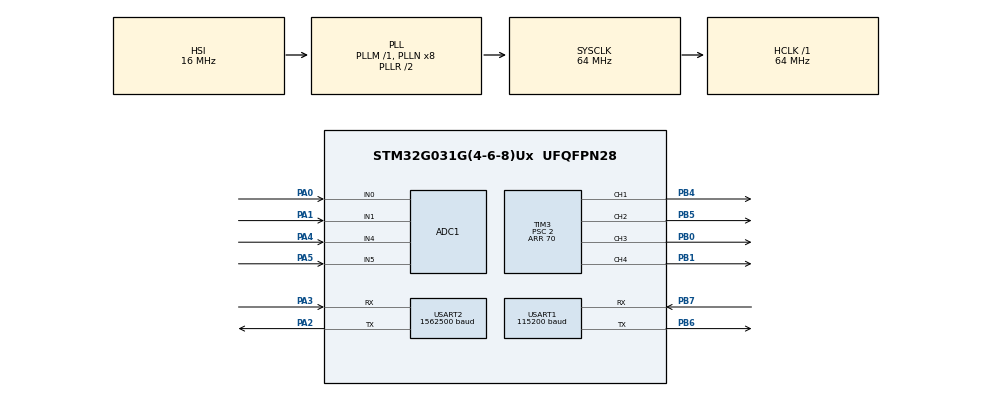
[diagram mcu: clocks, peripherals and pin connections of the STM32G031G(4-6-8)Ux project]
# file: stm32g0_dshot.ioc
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ADC1.Channel-1\#ChannelRegularConversion=ADC_CHANNEL_0
ADC1.Channel-2\#ChannelRegularConversion=ADC_CHANNEL_1
ADC1.Channel-3\#ChannelRegularConversion=ADC_CHANNEL_4
ADC1.Channel-4\#ChannelRegularConversion=ADC_CHANNEL_5
ADC1.ClockPrescaler=ADC_CLOCK_SYNC_PCLK_DIV4
ADC1.DiscontinuousConvMode=ENABLE
ADC1.NbrOfConversion=4
ADC1.NbrOfConversionFlag=1
ADC1.Rank-1\#ChannelRegularConversion=1
ADC1.Rank-2\#ChannelRegularConversion=2
ADC1.Rank-3\#ChannelRegularConversion=3
ADC1.Rank-4\#ChannelRegularConversion=4
ADC1.SamplingTime-1\#ChannelRegularConversion=ADC_SAMPLINGTIME_COMMON_1
ADC1.SamplingTime-2\#ChannelRegularConversion=ADC_SAMPLINGTIME_COMMON_1
ADC1.SamplingTime-3\#ChannelRegularConversion=ADC_SAMPLINGTIME_COMMON_1
ADC1.SamplingTime-4\#ChannelRegularConversion=ADC_SAMPLINGTIME_COMMON_1
ADC1.SamplingTimeCommon1=ADC_SAMPLETIME_160CYCLES_5
ADC1.SamplingTimeCommon2=ADC_SAMPLETIME_160CYCLES_5
ADC1.SelectedChannel=ADC_CHANNEL_0|ADC_CHANNEL_1|ADC_CHANNEL_4|ADC_CHANNEL_5
ADC1.master=1
Dma.Request0=TIM3_CH1
Dma.Request1=TIM3_CH2
Dma.Request2=TIM3_CH3
Dma.Request3=TIM3_CH4
Dma.Request4=USART2_RX
Dma.TIM3_CH1.0.Direction=DMA_MEMORY_TO_PERIPH
Dma.TIM3_CH1.0.EventEnable=DISABLE
Dma.TIM3_CH1.0.Instance=DMA1_Channel2
Dma.TIM3_CH1.0.MemDataAlignment=DMA_MDATAALIGN_WORD
Dma.TIM3_CH1.0.MemInc=DMA_MINC_ENABLE
Dma.TIM3_CH1.0.Mode=DMA_NORMAL
Dma.TIM3_CH1.0.PeriphDataAlignment=DMA_PDATAALIGN_WORD
Dma.TIM3_CH1.0.PeriphInc=DMA_PINC_DISABLE
Dma.TIM3_CH1.0.Polarity=HAL_DMAMUX_REQ_GEN_RISING
Dma.TIM3_CH1.0.Priority=DMA_PRIORITY_HIGH
Dma.TIM3_CH1.0.RequestNumber=1
Dma.TIM3_CH1.0.SignalID=NONE
Dma.TIM3_CH1.0.SyncEnable=DISABLE
Dma.TIM3_CH1.0.SyncPolarity=HAL_DMAMUX_SYNC_NO_EVENT
Dma.TIM3_CH1.0.SyncRequestNumber=1
Dma.TIM3_CH1.0.SyncSignalID=NONE
Dma.TIM3_CH2.1.Direction=DMA_MEMORY_TO_PERIPH
Dma.TIM3_CH2.1.EventEnable=DISABLE
Dma.TIM3_CH2.1.Instance=DMA1_Channel3
Dma.TIM3_CH2.1.MemDataAlignment=DMA_MDATAALIGN_WORD
Dma.TIM3_CH2.1.MemInc=DMA_MINC_ENABLE
Dma.TIM3_CH2.1.Mode=DMA_NORMAL
Dma.TIM3_CH2.1.PeriphDataAlignment=DMA_PDATAALIGN_WORD
Dma.TIM3_CH2.1.PeriphInc=DMA_PINC_DISABLE
Dma.TIM3_CH2.1.Polarity=HAL_DMAMUX_REQ_GEN_RISING
Dma.TIM3_CH2.1.Priority=DMA_PRIORITY_HIGH
Dma.TIM3_CH2.1.RequestNumber=1
Dma.TIM3_CH2.1.SignalID=NONE
Dma.TIM3_CH2.1.SyncEnable=DISABLE
Dma.TIM3_CH2.1.SyncPolarity=HAL_DMAMUX_SYNC_NO_EVENT
Dma.TIM3_CH2.1.SyncRequestNumber=1
Dma.TIM3_CH2.1.SyncSignalID=NONE
Dma.TIM3_CH3.2.Direction=DMA_MEMORY_TO_PERIPH
Dma.TIM3_CH3.2.EventEnable=DISABLE
Dma.TIM3_CH3.2.Instance=DMA1_Channel4
Dma.TIM3_CH3.2.MemDataAlignment=DMA_MDATAALIGN_WORD
Dma.TIM3_CH3.2.MemInc=DMA_MINC_ENABLE
Dma.TIM3_CH3.2.Mode=DMA_NORMAL
Dma.TIM3_CH3.2.PeriphDataAlignment=DMA_PDATAALIGN_WORD
Dma.TIM3_CH3.2.PeriphInc=DMA_PINC_DISABLE
Dma.TIM3_CH3.2.Polarity=HAL_DMAMUX_REQ_GEN_RISING
Dma.TIM3_CH3.2.Priority=DMA_PRIORITY_HIGH
Dma.TIM3_CH3.2.RequestNumber=1
Dma.TIM3_CH3.2.SignalID=NONE
Dma.TIM3_CH3.2.SyncEnable=DISABLE
Dma.TIM3_CH3.2.SyncPolarity=HAL_DMAMUX_SYNC_NO_EVENT
Dma.TIM3_CH3.2.SyncRequestNumber=1
Dma.TIM3_CH3.2.SyncSignalID=NONE
Dma.TIM3_CH4.3.Direction=DMA_MEMORY_TO_PERIPH
Dma.TIM3_CH4.3.EventEnable=DISABLE
Dma.TIM3_CH4.3.Instance=DMA1_Channel5
Dma.TIM3_CH4.3.MemDataAlignment=DMA_MDATAALIGN_WORD
Dma.TIM3_CH4.3.MemInc=DMA_MINC_ENABLE
Dma.TIM3_CH4.3.Mode=DMA_NORMAL
Dma.TIM3_CH4.3.PeriphDataAlignment=DMA_PDATAALIGN_WORD
Dma.TIM3_CH4.3.PeriphInc=DMA_PINC_DISABLE
Dma.TIM3_CH4.3.Polarity=HAL_DMAMUX_REQ_GEN_RISING
Dma.TIM3_CH4.3.Priority=DMA_PRIORITY_HIGH
Dma.TIM3_CH4.3.RequestNumber=1
Dma.TIM3_CH4.3.SignalID=NONE
Dma.TIM3_CH4.3.SyncEnable=DISABLE
Dma.TIM3_CH4.3.SyncPolarity=HAL_DMAMUX_SYNC_NO_EVENT
Dma.TIM3_CH4.3.SyncRequestNumber=1
Dma.TIM3_CH4.3.SyncSignalID=NONE
Dma.USART2_RX.4.Direction=DMA_PERIPH_TO_MEMORY
Dma.USART2_RX.4.EventEnable=DISABLE
Dma.USART2_RX.4.Instance=DMA1_Channel1
Dma.USART2_RX.4.MemDataAlignment=DMA_MDATAALIGN_BYTE
Dma.USART2_RX.4.MemInc=DMA_MINC_ENABLE
Dma.USART2_RX.4.Mode=DMA_CIRCULAR
Dma.USART2_RX.4.PeriphDataAlignment=DMA_PDATAALIGN_BYTE
Dma.USART2_RX.4.PeriphInc=DMA_PINC_DISABLE
Dma.USART2_RX.4.Polarity=HAL_DMAMUX_REQ_GEN_RISING
Dma.USART2_RX.4.Priority=DMA_PRIORITY_HIGH
Dma.USART2_RX.4.RequestNumber=1
Dma.USART2_RX.4.SignalID=NONE
Dma.USART2_RX.4.SyncEnable=DISABLE
Dma.USART2_RX.4.SyncPolarity=HAL_DMAMUX_SYNC_NO_EVENT
Dma.USART2_RX.4.SyncRequestNumber=1
Dma.USART2_RX.4.SyncSignalID=NONE
Mcu.Family=STM32G0
Mcu.Name=STM32G031G(4-6-8)Ux
Mcu.Package=UFQFPN28
NVIC.DMA1_Ch4_5_DMAMUX1_OVR_IRQn=true\:0\:0\:false\:false\:true\:false\:true\:true
NVIC.DMA1_Channel1_IRQn=true\:0\:0\:false\:false\:true\:false\:true\:true
NVIC.DMA1_Channel2_3_IRQn=true\:0\:0\:false\:false\:true\:false\:true\:true
NVIC.TIM1_BRK_UP_TRG_COM_IRQn=true\:0\:0\:false\:false\:true\:true\:true\:true
PA0.Mode=IN0
PA0.Signal=ADC1_IN0
PA1.Mode=IN1
PA1.Signal=ADC1_IN1
PA2.Mode=Asynchronous
PA2.Signal=USART2_TX
PA3.Mode=Asynchronous
PA3.Signal=USART2_RX
PA4.Mode=IN4
PA4.Signal=ADC1_IN4
PA5.Mode=IN5
PA5.Signal=ADC1_IN5
PB0.Signal=S_TIM3_CH3
PB1.Signal=S_TIM3_CH4
PB4.Signal=S_TIM3_CH1
PB5.Signal=S_TIM3_CH2
PB6.Mode=Asynchronous
PB6.Signal=USART1_TX
PB7.Mode=Asynchronous
PB7.Signal=USART1_RX
ProjectManager.HeapSize=0x200
ProjectManager.StackSize=0x400
ProjectManager.TargetToolchain=MDK-ARM V5.27
RCC.ADCFreq_Value=64000000
RCC.AHBFreq_Value=64000000
RCC.CortexFreq_Value=64000000
RCC.EXTERNAL_CLOCK_VALUE=12288000
RCC.HCLKFreq_Value=64000000
RCC.HSE_VALUE=8000000
RCC.HSI_VALUE=16000000
RCC.LSE_VALUE=32768
RCC.PLLQ=RCC_PLLQ_DIV4
RCC.SYSCLKFreq_VALUE=64000000
RCC.SYSCLKSource=RCC_SYSCLKSOURCE_PLLCLK
RCC.VCOOutputFreq_Value=128000000
SH.S_TIM3_CH1.0=TIM3_CH1,PWM Generation1 CH1
SH.S_TIM3_CH2.0=TIM3_CH2,PWM Generation2 CH2
SH.S_TIM3_CH3.0=TIM3_CH3,PWM Generation3 CH3
SH.S_TIM3_CH4.0=TIM3_CH4,PWM Generation4 CH4
TIM1.Period=49
TIM1.Prescaler=639
TIM2.AutoReloadPreload=TIM_AUTORELOAD_PRELOAD_ENABLE
TIM2.Period=0xFFFFFFFF
TIM2.Prescaler=64000-1
TIM3.Channel-PWM\ Generation1\ CH1=TIM_CHANNEL_1
TIM3.Channel-PWM\ Generation2\ CH2=TIM_CHANNEL_2
TIM3.Channel-PWM\ Generation3\ CH3=TIM_CHANNEL_3
TIM3.Channel-PWM\ Generation4\ CH4=TIM_CHANNEL_4
TIM3.Period=70
TIM3.Prescaler=2
USART1.BaudRate=115200
USART1.VirtualMode-Asynchronous=VM_ASYNC
USART2.BaudRate=1562500
USART2.DMADisableonRxErrorParam=ADVFEATURE_DMA_ENABLEONRXERROR
USART2.OverrunDisableParam=ADVFEATURE_OVERRUN_DISABLE
USART2.VirtualMode-Asynchronous=VM_ASYNC
VP_SYS_VS_PINREMAP.Mode=PINREMAP
VP_SYS_VS_PINREMAP_10_12.Mode=PINREMAP_10_12
VP_TIM1_VS_ClockSourceINT.Mode=Internal
VP_TIM2_VS_ClockSourceINT.Mode=Internal
VP_TIM3_VS_ClockSourceINT.Mode=Internal
board=custom

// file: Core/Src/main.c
/* USER CODE BEGIN Header */
/**
 ******************************************************************************
 * @file           : main.c
 * @brief          : Main program body
 ******************************************************************************
 * @attention
 *
 * Copyright (c) 2025 STMicroelectronics.
 * All rights reserved.
 *
 * This software is licensed under terms that can be found in the LICENSE file
 * in the root directory of this software component.
 * If no LICENSE file comes with this software, it is provided AS-IS.
 *
 ******************************************************************************
 */
/* USER CODE END Header */
#include "main.h"
#include "adc.h"
#include "dma.h"
#include "tim.h"
#include "usart.h"
#include "gpio.h"

/* USER CODE BEGIN Includes */
#include "stdint.h"
#include "dshot.h"
#include "user.h"
/* USER CODE END Includes */

void SystemClock_Config(void);
/* USER CODE BEGIN PFP */
extern bool is_startup;
extern bool last_state;
extern bool is_connect;
extern uint16_t loop_count;
extern uint16_t loop_count_last;
extern uint8_t rx[];
extern uint8_t tx[];
extern uint16_t pwm[];
/* USER CODE END PFP */

/* USER CODE BEGIN 0 */
#include <stdio.h>
#include <string.h>

int fputc(int ch, FILE *f)
{
  while ((USART1->ISR & 0X40) == 0);
  USART1->TDR = (uint8_t)ch;
  return ch;
}

void nop_delay(uint32_t cnt)
{
  while (cnt--)
  {
    __NOP();
  }
}

void idle_irq(void)
{
  if (is_connect == false)
  {
    HAL_UART_DMAStop(&huart2);
    MX_USART2_UART_Init();
    HAL_UART_Receive_DMA(&huart2, rx, RDATA_SIZE);
  }
}

/* USER CODE END 0 */

int main(void)
{

  /* USER CODE BEGIN 1 */
  SCB->VTOR = 0x08003000;
  __enable_irq();
  HAL_DeInit();
  HAL_RCC_DeInit();

  /* USER CODE END 1 */

  /* MCU Configuration--------------------------------------------------------*/

  /* Reset of all peripherals, Initializes the Flash interface and the Systick. */
  HAL_Init();

  /* Configure the system clock */
  SystemClock_Config();

  /* Initialize all configured peripherals */
  MX_GPIO_Init();
  MX_DMA_Init();
  MX_ADC1_Init();
  MX_TIM1_Init();
  MX_TIM3_Init();
  MX_USART2_UART_Init();
  MX_USART1_UART_Init();
  MX_TIM2_Init();
  /* USER CODE BEGIN 2 */

  printf("aux app startup v%d.%d\r\n",VERSION_MAJOR,VERSION_MINOR);

  tx[TDATA_SIZE-3] = VERSION_MAJOR;
  tx[TDATA_SIZE-2] = VERSION_MINOR;

  HAL_ADCEx_Calibration_Start(&hadc1);
  HAL_TIM_Base_Start_IT(&htim2);

  dshot_init(DSHOT300);
  while(TIM2->CNT < 100);
  HAL_TIM_Base_Start_IT(&htim1);

  printf("connecting...\r\n");

  HAL_UART_Receive_DMA(&huart2, rx, RDATA_SIZE);
	// __HAL_UART_ENABLE_IT(&huart2, UART_IT_IDLE);

  /* USER CODE END 2 */

  /* Infinite loop */
  while (1)
  {

    /* USER CODE BEGIN 3 */

    loop_100ms();
    loop_1s();

    if (last_state == false && is_connect == true)
    {
      last_state = true;
      printf("connected\r\n");
    }
    else if (last_state == true && is_connect == false)
    {
      last_state = false;
      printf("disconnect\r\n");
    }

    if (is_startup == false)
    {
      if (TIM2->CNT > 1000)
      {
        is_startup = true;
      }
    }

    for (int i = 0; i < 4; i++)
    {
      HAL_ADC_Start(&hadc1);
      HAL_ADC_PollForConversion(&hadc1, 100);
      if (HAL_IS_BIT_SET(HAL_ADC_GetState(&hadc1), HAL_ADC_STATE_REG_EOC))
      {
        ((uint16_t *)tx)[i + 1] = HAL_ADC_GetValue(&hadc1);
      }
    }
    HAL_ADC_Stop(&hadc1);

    loop_count++;
  }
  /* USER CODE END 3 */
}

void SystemClock_Config(void)
{
  RCC_OscInitTypeDef RCC_OscInitStruct = {0};
  RCC_ClkInitTypeDef RCC_ClkInitStruct = {0};

  /** Configure the main internal regulator output voltage
  */
  HAL_PWREx_ControlVoltageScaling(PWR_REGULATOR_VOLTAGE_SCALE1);

  /** Initializes the RCC Oscillators according to the specified parameters
  * in the RCC_OscInitTypeDef structure.
  */
  RCC_OscInitStruct.OscillatorType = RCC_OSCILLATORTYPE_HSI;
  RCC_OscInitStruct.HSIState = RCC_HSI_ON;
  RCC_OscInitStruct.HSIDiv = RCC_HSI_DIV1;
  RCC_OscInitStruct.HSICalibrationValue = RCC_HSICALIBRATION_DEFAULT;
  RCC_OscInitStruct.PLL.PLLState = RCC_PLL_ON;
  RCC_OscInitStruct.PLL.PLLSource = RCC_PLLSOURCE_HSI;
  RCC_OscInitStruct.PLL.PLLM = RCC_PLLM_DIV1;
  RCC_OscInitStruct.PLL.PLLN = 8;
  RCC_OscInitStruct.PLL.PLLP = RCC_PLLP_DIV2;
  RCC_OscInitStruct.PLL.PLLQ = RCC_PLLQ_DIV4;
  RCC_OscInitStruct.PLL.PLLR = RCC_PLLR_DIV2;
  if (HAL_RCC_OscConfig(&RCC_OscInitStruct) != HAL_OK)
  {
    Error_Handler();
  }

  /** Initializes the CPU, AHB and APB buses clocks
  */
  RCC_ClkInitStruct.ClockType = RCC_CLOCKTYPE_HCLK|RCC_CLOCKTYPE_SYSCLK
                              |RCC_CLOCKTYPE_PCLK1;
  RCC_ClkInitStruct.SYSCLKSource = RCC_SYSCLKSOURCE_PLLCLK;
  RCC_ClkInitStruct.AHBCLKDivider = RCC_SYSCLK_DIV1;
  RCC_ClkInitStruct.APB1CLKDivider = RCC_HCLK_DIV1;

  if (HAL_RCC_ClockConfig(&RCC_ClkInitStruct, FLASH_LATENCY_2) != HAL_OK)
  {
    Error_Handler();
  }
}

void Error_Handler(void)
{
  __disable_irq();
  while (1)
  {
  }
}
